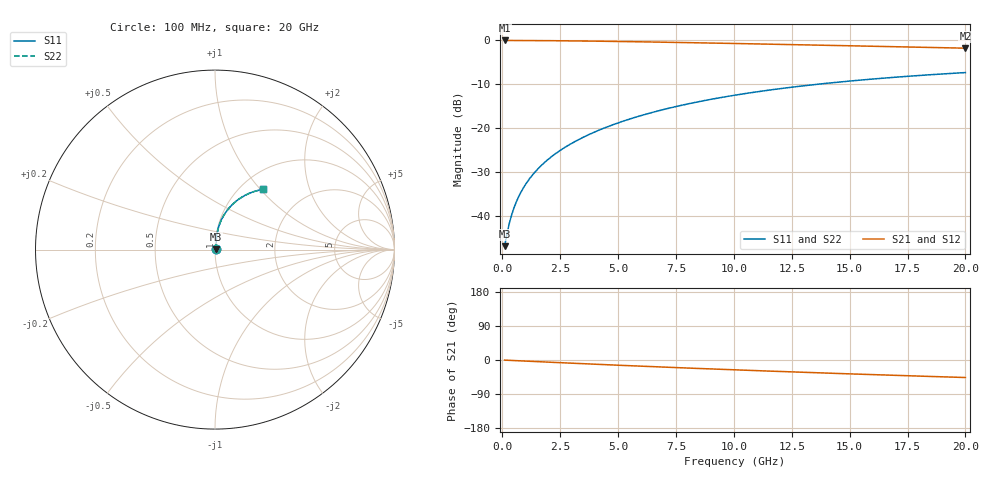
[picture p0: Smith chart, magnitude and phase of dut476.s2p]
! Touchstone file exported from HFSS 2024.1.0
!  File:  C:/UserFiles/LocalFiles/RDL_TSV_Batchsim/temp_RDL_bottom_476_1779686202.aedt
!  Generated:  01:19:16 PM May 25, 2026
!  Design:  RDL_bottom
!  Project:  temp_RDL_bottom_476_1779686202
!  Setup:  Setup1
!  Solution:  Sweep
! Variables:
!  dtsv = 10.80580581um
!  hbump = 3um
!  htsv = 58.63um
!  ldown = 630.42um
!  lrdl = 100um
!  p = 40
!  p1 = 56.26um
!  rhole = 1um
!  t = 450um
!  tdown = 2.74um
!  trdl = 3.915915916um
!  wdown = 22.64um
!  wrdl = 20um
# GHz S MA R 50.000000
! Terminal data exported
! Port[1] = RDL1_T1
! Port[2] = RDL1_T2
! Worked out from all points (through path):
!   200 points, 100 MHz to 20 GHz, reference 50 ohm
!   highest |S21| = -0.03 dB at 100 MHz (marker M1); lowest = -1.8 dB at 20 GHz (marker M2)
!   group delay of S21, straight-line fit = 6.37 ps
!   lowest |S11| = -46.9 dB at 100 MHz (marker M3), VSWR 1.01, Z = 50.4 + j0.242 ohm
!   |S11| at or under -10 dB: start of sweep to 13.63 GHz
!   |S22| runs from -46.9 to -7.4 dB; largest |S21 - S12| = 8.3e-15
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0.1  0.004528 32.1  0.9962 -0.3  0.9962 -0.3  0.004528 32.1
! Gamma 0 0 0 0
! Port Impedance 50 0 50 0
0.2  0.006198 50.2  0.996 -0.6  0.996 -0.6  0.006198 50.2
0.3  0.008169 59.5  0.9958 -0.9  0.9958 -0.9  0.008169 59.5
0.4  0.01022 65.0  0.9955 -1.2  0.9955 -1.2  0.01022 65.0
0.5  0.01228 68.6  0.9953 -1.5  0.9953 -1.5  0.01228 68.6
0.6  0.01436 71.3  0.9951 -1.7  0.9951 -1.7  0.01436 71.3
0.8  0.01853 74.9  0.9946 -2.3  0.9946 -2.3  0.01853 74.9
1.1  0.02489 78.1  0.9938 -3.2  0.9938 -3.2  0.02489 78.1
1.3  0.02918 79.5  0.9932 -3.7  0.9932 -3.7  0.02918 79.5
1.6  0.03569 80.9  0.9922 -4.6  0.9922 -4.6  0.03569 80.9
2.1  0.04674 82.3  0.9901 -6.0  0.9901 -6.0  0.04673 82.2
2.7  0.06028 82.9  0.987 -7.6  0.987 -7.6  0.06027 82.9
3.5  0.07879 83.0  0.9819 -9.8  0.9819 -9.8  0.07878 83.0
4.2  0.09538 82.5  0.9767 -11.7  0.9767 -11.7  0.09536 82.5
5  0.1147 81.7  0.9702 -13.8  0.9702 -13.8  0.1147 81.6
6.8  0.1589 78.7  0.9536 -18.3  0.9536 -18.3  0.1588 78.7
8.4  0.1981 75.5  0.9374 -22.2  0.9374 -22.2  0.198 75.5
10.1  0.2385 71.9  0.9196 -26.1  0.9196 -26.1  0.2384 71.8
11.7  0.275 68.4  0.9023 -29.7  0.9023 -29.7  0.2748 68.3
13.4  0.3114 64.7  0.8839 -33.3  0.8839 -33.3  0.3113 64.6
16.7  0.3751 57.8  0.8482 -40.0  0.8482 -40.0  0.3749 57.7
20  0.4292 51.4  0.8135 -46.2  0.8135 -46.2  0.4289 51.4
